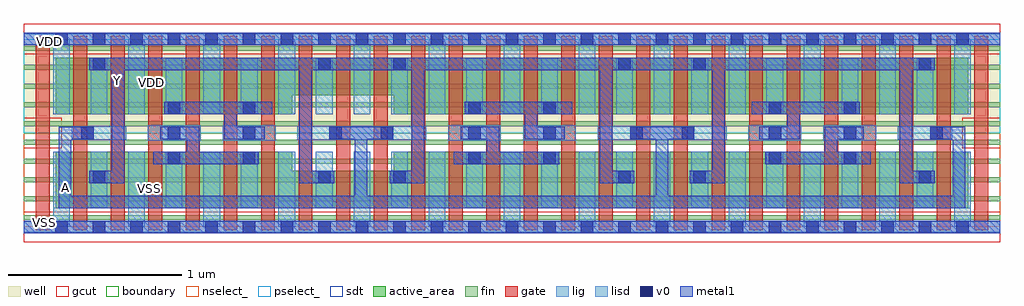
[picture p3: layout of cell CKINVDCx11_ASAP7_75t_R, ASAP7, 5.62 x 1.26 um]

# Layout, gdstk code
import gdstk
lib = gdstk.Library(unit=1e-6, precision=2.5e-10)
def R(c, l, rs):  # rectangles x0, y0, x1, y1
    for r in rs: c.add(gdstk.rectangle(r[:2], r[2:], *l))
def A(c, l, x, y, w, h, nx, ny, dx, dy):  # array of equal rectangles
    R(c, l, [(x+i*dx, y+j*dy, x+i*dx+w, y+j*dy+h) for i in range(nx) for j in range(ny)])
def P(c, l, *ps):  # polygons
    for p in ps: c.add(gdstk.Polygon(p, *l))
well = (1, 0)
fin = (2, 0)
gate = (7, 0)
gcut = (10, 0)
active_area = (11, 0)
nselect_ = (12, 0)
pselect_ = (13, 0)
lig = (16, 0)
lisd = (17, 0)
v0 = (18, 0)
metal1 = (19, 0)
sdt = (88, 0)
boundary = (100, 0)

ckinvdcx11_asap7_75t_r = lib.new_cell('CKINVDCx11_ASAP7_75t_R')
R(ckinvdcx11_asap7_75t_r, well, [(0,0.54,5.616,1.08)])
A(ckinvdcx11_asap7_75t_r, fin, 0, 0.04, 5.616, 0.028, 1, 10, 0, 0.108)
A(ckinvdcx11_asap7_75t_r, gate, 0.068, -0.02, 0.08, 1.12, 26, 1, 0.216, 0)
R(ckinvdcx11_asap7_75t_r, gcut, [(0,-0.088,5.616,0.088), (0,0.452,0.216,0.628), (5.4,0.452,5.616,0.628), (0,0.992,5.616,1.168)])
P(ckinvdcx11_asap7_75t_r, active_area, [(0.184,0.108),(0.184,0.432),(1.544,0.432),(1.544,0.324),(2.128,0.324),(2.128,0.432),(5.432,0.432),(5.432,0.108)],
  [(0.184,0.648),(0.184,0.972),(5.432,0.972),(5.432,0.648),(2.128,0.648),(2.128,0.756),(1.544,0.756),(1.544,0.648)])
R(ckinvdcx11_asap7_75t_r, nselect_, [(0,0,5.616,0.54)])
R(ckinvdcx11_asap7_75t_r, pselect_, [(0,0.54,5.616,1.08)])
R(ckinvdcx11_asap7_75t_r, lig, [(0,-0.032,5.616,0.032), (0.712,0.496,1.016,0.584), (1.144,0.496,1.448,0.584), (2.44,0.496,2.744,0.584), (2.872,0.496,3.176,0.584), (4.168,0.496,4.472,0.584), (4.6,0.496,4.904,0.584), (0.276,0.5,0.588,0.58), (1.572,0.5,2.316,0.58), (3.3,0.5,4.044,0.58), (5.028,0.5,5.34,0.58), (0,1.048,5.616,1.112)])
A(ckinvdcx11_asap7_75t_r, lisd, 0.168, 0, 0.096, 0.432, 13, 2, 0.432, 0.648)
A(ckinvdcx11_asap7_75t_r, lisd, 0.384, 0.108, 0.096, 0.324, 12, 2, 0.432, 0.54)
A(ckinvdcx11_asap7_75t_r, v0, 0.18, -0.036, 0.072, 0.072, 25, 2, 0.216, 1.08)
A(ckinvdcx11_asap7_75t_r, v0, 0.828, 0.36, 0.072, 0.072, 1, 3, 0, 0.144)
A(ckinvdcx11_asap7_75t_r, v0, 1.26, 0.36, 0.072, 0.072, 1, 3, 0, 0.144)
A(ckinvdcx11_asap7_75t_r, v0, 2.556, 0.36, 0.072, 0.072, 1, 3, 0, 0.144)
A(ckinvdcx11_asap7_75t_r, v0, 2.988, 0.36, 0.072, 0.072, 1, 3, 0, 0.144)
A(ckinvdcx11_asap7_75t_r, v0, 4.284, 0.36, 0.072, 0.072, 1, 3, 0, 0.144)
A(ckinvdcx11_asap7_75t_r, v0, 4.716, 0.36, 0.072, 0.072, 1, 3, 0, 0.144)
R(ckinvdcx11_asap7_75t_r, v0, [(0.396,0.252,0.468,0.324), (1.692,0.252,1.764,0.324), (2.124,0.252,2.196,0.324), (3.42,0.252,3.492,0.324), (3.852,0.252,3.924,0.324), (5.148,0.252,5.22,0.324), (0.328,0.504,0.4,0.576), (1.756,0.504,1.828,0.576), (2.052,0.504,2.124,0.576), (3.488,0.504,3.56,0.576), (3.784,0.504,3.856,0.576), (5.216,0.504,5.288,0.576), (0.396,0.9,0.468,0.972), (1.692,0.9,1.764,0.972), (2.124,0.9,2.196,0.972), (3.42,0.9,3.492,0.972), (3.852,0.9,3.924,0.972), (5.148,0.9,5.22,0.972)])
R(ckinvdcx11_asap7_75t_r, metal1, [(0,-0.036,5.616,0.036), (0,1.044,5.616,1.116)])
P(ckinvdcx11_asap7_75t_r, metal1, [(0.2,0.108),(0.2,0.576),(0.4,0.576),(0.4,0.504),(0.272,0.504),(0.272,0.18),(1.904,0.18),(1.904,0.504),(1.756,0.504),(1.756,0.576),(2.124,0.576),(2.124,0.504),(1.976,0.504),(1.976,0.18),(3.636,0.18),(3.636,0.504),(3.488,0.504),(3.488,0.576),(3.856,0.576),(3.856,0.504),(3.708,0.504),(3.708,0.18),(5.344,0.18),(5.344,0.504),(5.216,0.504),(5.216,0.576),(5.416,0.576),(5.416,0.108)],
  [(0.376,0.252),(0.376,0.324),(0.504,0.324),(0.504,0.9),(0.376,0.9),(0.376,0.972),(5.24,0.972),(5.24,0.9),(5.112,0.9),(5.112,0.324),(5.24,0.324),(5.24,0.252),(5.04,0.252),(5.04,0.9),(4.032,0.9),(4.032,0.252),(3.832,0.252),(3.832,0.324),(3.96,0.324),(3.96,0.9),(3.384,0.9),(3.384,0.324),(3.512,0.324),(3.512,0.252),(3.312,0.252),(3.312,0.9),(2.304,0.9),(2.304,0.252),(2.104,0.252),(2.104,0.324),(2.232,0.324),(2.232,0.9),(1.656,0.9),(1.656,0.324),(1.784,0.324),(1.784,0.252),(1.584,0.252),(1.584,0.9),(0.576,0.9),(0.576,0.252)],
  [(0.744,0.36),(0.744,0.432),(0.936,0.432),(0.936,0.504),(0.784,0.504),(0.784,0.576),(1.008,0.576),(1.008,0.432),(1.352,0.432),(1.352,0.36)],
  [(2.472,0.36),(2.472,0.432),(2.664,0.432),(2.664,0.504),(2.512,0.504),(2.512,0.576),(2.736,0.576),(2.736,0.432),(3.08,0.432),(3.08,0.36)],
  [(4.264,0.36),(4.264,0.432),(4.608,0.432),(4.608,0.576),(4.832,0.576),(4.832,0.504),(4.68,0.504),(4.68,0.432),(4.872,0.432),(4.872,0.36)],
  [(4.232,0.504),(4.232,0.576),(4.392,0.576),(4.392,0.648),(4.188,0.648),(4.188,0.72),(4.808,0.72),(4.808,0.648),(4.464,0.648),(4.464,0.504)],
  [(1.152,0.504),(1.152,0.648),(0.808,0.648),(0.808,0.72),(1.428,0.72),(1.428,0.648),(1.224,0.648),(1.224,0.576),(1.384,0.576),(1.384,0.504)],
  [(2.88,0.504),(2.88,0.648),(2.536,0.648),(2.536,0.72),(3.156,0.72),(3.156,0.648),(2.952,0.648),(2.952,0.576),(3.112,0.576),(3.112,0.504)])
A(ckinvdcx11_asap7_75t_r, sdt, 0.168, 0.108, 0.096, 0.324, 7, 2, 0.216, 0.54)
A(ckinvdcx11_asap7_75t_r, sdt, 2.112, 0.108, 0.096, 0.324, 16, 2, 0.216, 0.54)
R(ckinvdcx11_asap7_75t_r, sdt, [(1.68,0.108,1.776,0.324), (1.896,0.108,1.992,0.324), (1.68,0.756,1.776,0.972), (1.896,0.756,1.992,0.972)])
R(ckinvdcx11_asap7_75t_r, boundary, [(0,0,5.616,1.08)])
ckinvdcx11_asap7_75t_r.add(gdstk.Label('VSS', (0.116,0.024), layer=19, texttype=251))
ckinvdcx11_asap7_75t_r.add(gdstk.Label('VDD', (0.144,1.066), layer=19, texttype=251))
ckinvdcx11_asap7_75t_r.add(gdstk.Label('Y', (0.54,0.84), layer=19, texttype=251))
ckinvdcx11_asap7_75t_r.add(gdstk.Label('A', (0.24,0.228), layer=19, texttype=251))
ckinvdcx11_asap7_75t_r.add(gdstk.Label('VDD', (0.736,0.828), layer=1, texttype=251))
ckinvdcx11_asap7_75t_r.add(gdstk.Label('VSS', (0.724,0.22), layer=3, texttype=251))

lib.write_gds('CKINVDCx11_ASAP7_75t_R.gds')
